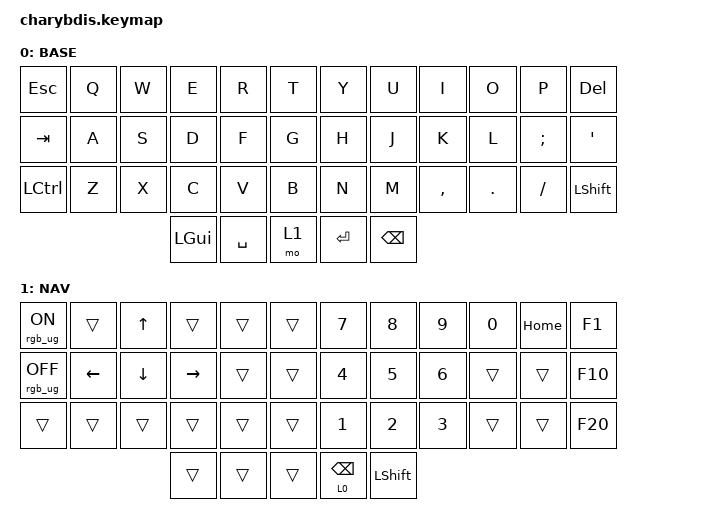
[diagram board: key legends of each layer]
#include <dt-bindings/zmk/mouse.h>
#include <input/processors.dtsi>
#include <dt-bindings/zmk/input_transform.h>
#include <behaviors.dtsi>
#include <dt-bindings/zmk/keys.h>
#include <dt-bindings/zmk/rgb.h>

#define U_TAPPING_TERM 200

/ {
    trackball_listener {
        compatible = "zmk,input-listener";
        device = <&trackball>;
        input-processors = <&zip_xy_scaler 1 2>, <&zip_temp_layer 4 400>;

        // Switch to auto-mouse temp layer, decrease sensitivity

        scroll {
            layers = <5>; // SCROLL
            input-processors =
                <&zip_xy_scaler 1 5>,
                <&zip_xy_to_scroll_mapper>,
                <&zip_scroll_transform (INPUT_TRANSFORM_Y_INVERT)>;
        };
    };

    combos { compatible = "zmk,combos"; };

    keymap {
        compatible = "zmk,keymap";

        BASE {
            bindings = <
&kp ESC           &kp Q  &kp W  &kp E     &kp R      &kp T    &kp Y      &kp U          &kp I      &kp O    &kp P          &kp DEL
&kp TAB           &kp A  &kp S  &kp D     &kp F      &kp G    &kp H      &kp J          &kp K      &kp L    &kp SEMICOLON  &kp APOS
&kp LEFT_CONTROL  &kp Z  &kp X  &kp C     &kp V      &kp B    &kp N      &kp M          &kp COMMA  &kp DOT  &kp FSLH       &kp LEFT_SHIFT
                                &kp LGUI  &kp SPACE  &mo 1    &kp ENTER  &kp BACKSPACE
            >;
        };

        NAV {
            bindings = <
&rgb_ug RGB_ON   &trans    &kp UP    &trans     &trans  &trans    &kp N7           &kp N8     &kp N9        &kp N0  &kp HOME  &kp F1
&rgb_ug RGB_OFF  &kp LEFT  &kp DOWN  &kp RIGHT  &trans  &trans    &kp N4           &kp N5     &kp NUMBER_6  &trans  &trans    &kp F10
&trans           &trans    &trans    &trans     &trans  &trans    &kp N1           &kp N2     &kp N3        &trans  &trans    &kp F20
                                     &trans     &trans  &trans    &lt 0 BACKSPACE  &kp LSHFT
            >;
        };
    };
};
